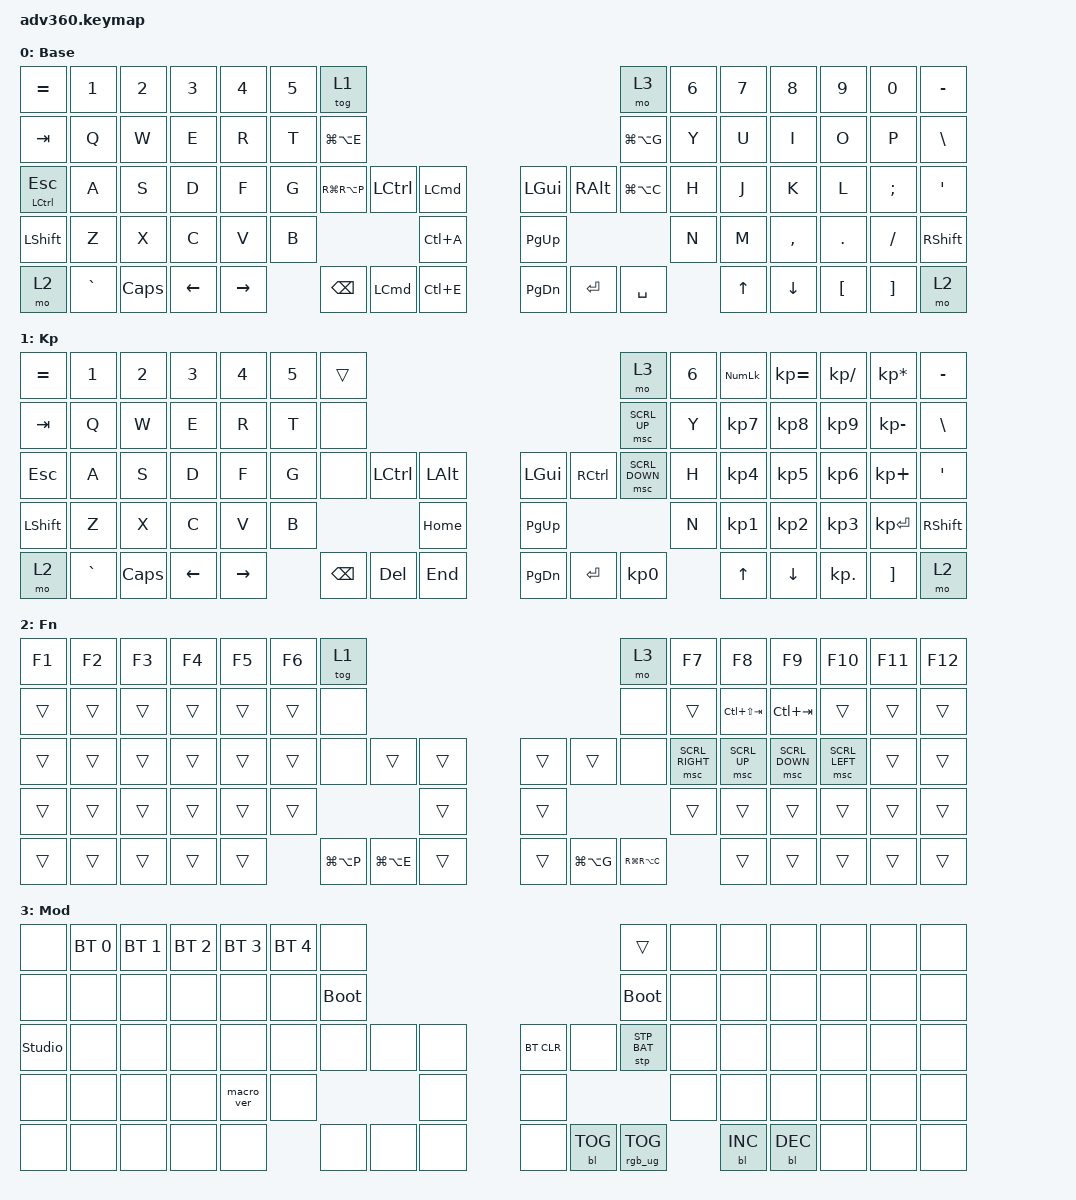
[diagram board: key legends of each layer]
#include <dt-bindings/zmk/stp.h>
#include <behaviors.dtsi>
#include <dt-bindings/zmk/backlight.h>
#include <dt-bindings/zmk/bt.h>
#include <dt-bindings/zmk/keys.h>
#include <dt-bindings/zmk/pointing.h>
#include <dt-bindings/zmk/rgb.h>

/ {
    behaviors {
        #include "macros.dtsi"
      #include "version.dtsi"

        hm: homerow_mods {
            compatible = "zmk,behavior-hold-tap";
            label = "HOMEROW_MODS";
            #binding-cells = <2>;
            tapping-term-ms = <200>;
            quick_tap_ms = <175>;
            flavor = "tap-preferred";
            bindings = <&kp>, <&kp>;
        };

        LongPress: LongPress {
            compatible = "zmk,behavior-hold-tap";
            label = "LONGPRESS";
            bindings = <&kp>, <&kp>;

            #binding-cells = <2>;
            tapping-term-ms = <351>;
            flavor = "tap-preferred";
        };
    };

    combos {
        compatible = "zmk,combos";

        HomeCombo {
            bindings = <&none>;
            key-positions = <35 29>;
        };

        EndCombo {
            bindings = <&none>;
            key-positions = <35 17>;
        };
    };

    macros {
        home_ctrl_a: home_ctrl_a {
            compatible = "zmk,behavior-macro";
            #binding-cells = <0>;
            bindings = <&kp LC(A)>;
            label = "HOME_CTRL_A";
        };
    };

    keymap {
        compatible = "zmk,keymap";

        default_layer {
            display-name = "Base";
            bindings = <
&kp EQUAL             &kp N1     &kp N2    &kp N3    &kp N4     &kp N5  &tog 1                                                                           &mo 3          &kp N6  &kp N7  &kp N8     &kp N9    &kp N0    &kp MINUS
&kp TAB               &kp Q      &kp W     &kp E     &kp R      &kp T   &kp LG(LA(E))                                                                    &kp LG(LA(G))  &kp Y   &kp U   &kp I      &kp O     &kp P     &kp BSLH
&LongPress LCTRL ESC  &kp A      &kp S     &kp D     &kp F      &kp G   &kp RG(RA(P))  &kp LCTRL         &kp LEFT_COMMAND      &kp LGUI   &kp RIGHT_ALT  &kp LG(LA(C))  &kp H   &kp J   &kp K      &kp L     &kp SEMI  &kp SQT
&kp LSHFT             &kp Z      &kp X     &kp C     &kp V      &kp B                                    &kp LC(A)             &kp PG_UP                                &kp N   &kp M   &kp COMMA  &kp DOT   &kp FSLH  &kp RSHFT
&mo 2                 &kp GRAVE  &kp CAPS  &kp LEFT  &kp RIGHT          &kp BSPC       &kp LEFT_COMMAND  &kp LC(E)             &kp PG_DN  &kp ENTER      &kp SPACE              &kp UP  &kp DOWN   &kp LBKT  &kp RBKT  &mo 2
            >;
        };

        keypad {
            display-name = "Kp";
            bindings = <
&kp EQUAL  &kp N1     &kp N2    &kp N3    &kp N4     &kp N5  &trans                                                   &mo 3           &kp N6  &kp KP_NUM  &kp KP_EQUAL  &kp KP_DIVIDE  &kp KP_MULTIPLY  &kp MINUS
&kp TAB    &kp Q      &kp W     &kp E     &kp R      &kp T   &none                                                    &msc SCRL_UP    &kp Y   &kp KP_N7   &kp KP_N8     &kp KP_N9      &kp KP_MINUS     &kp BSLH
&kp ESC    &kp A      &kp S     &kp D     &kp F      &kp G   &none     &kp LCTRL  &kp LALT      &kp LGUI   &kp RCTRL  &msc SCRL_DOWN  &kp H   &kp KP_N4   &kp KP_N5     &kp KP_N6      &kp KP_PLUS      &kp SQT
&kp LSHFT  &kp Z      &kp X     &kp C     &kp V      &kp B                        &kp HOME      &kp PG_UP                             &kp N   &kp KP_N1   &kp KP_N2     &kp KP_N3      &kp KP_ENTER     &kp RSHFT
&mo 2      &kp GRAVE  &kp CAPS  &kp LEFT  &kp RIGHT          &kp BSPC  &kp DEL    &kp END       &kp PG_DN  &kp ENTER  &kp KP_N0               &kp UP      &kp DOWN      &kp KP_DOT     &kp RBKT         &mo 2
            >;
        };

        fn {
            display-name = "Fn";
            bindings = <
&kp F1  &kp F2  &kp F3  &kp F4  &kp F5  &kp F6  &tog 1                                                           &mo 3          &kp F7           &kp F8           &kp F9          &kp F10         &kp F11  &kp F12
&trans  &trans  &trans  &trans  &trans  &trans  &none                                                            &none          &trans           &kp LC(LS(TAB))  &kp LC(TAB)     &trans          &trans   &trans
&trans  &trans  &trans  &trans  &trans  &trans  &none          &trans         &trans      &trans  &trans         &none          &msc SCRL_RIGHT  &msc SCRL_UP     &msc SCRL_DOWN  &msc SCRL_LEFT  &trans   &trans
&trans  &trans  &trans  &trans  &trans  &trans                                &trans      &trans                                &trans           &trans           &trans          &trans          &trans   &trans
&trans  &trans  &trans  &trans  &trans          &kp LG(LA(P))  &kp LG(LA(E))  &trans      &trans  &kp LG(LA(G))  &kp RG(RA(C))                   &trans           &trans          &trans          &trans   &trans
            >;
        };

        mod {
            display-name = "Mod";
            bindings = <
&none           &bt BT_SEL 0  &bt BT_SEL 1  &bt BT_SEL 2  &bt BT_SEL 3  &bt BT_SEL 4  &none                                                  &trans           &none  &none       &none       &none  &none  &none
&none           &none         &none         &none         &none         &none         &bootloader                                            &bootloader      &none  &none       &none       &none  &none  &none
&studio_unlock  &none         &none         &none         &none         &none         &none        &none  &none      &bt BT_CLR  &none       &stp STP_BAT     &none  &none       &none       &none  &none  &none
&none           &none         &none         &none         &macro_ver    &none                             &none      &none                                    &none  &none       &none       &none  &none  &none
&none           &none         &none         &none         &none                       &none        &none  &none      &none       &bl BL_TOG  &rgb_ug RGB_TOG         &bl BL_INC  &bl BL_DEC  &none  &none  &none
            >;
        };

        extra1 {
            display-name = "Red";
            status = "reserved";
        };

        extra2 {
            display-name = "Purple";
            status = "reserved";
        };

        extra3 {
            display-name = "Cyan";
            status = "reserved";
        };

        extra4 {
            display-name = "Yellow";
            status = "reserved";
        };
    };
};
